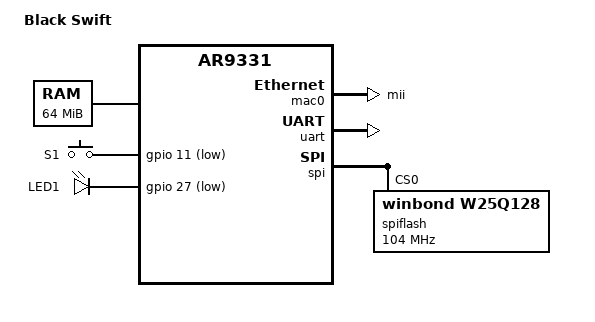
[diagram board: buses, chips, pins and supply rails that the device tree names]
/dts-v1/;

#include <dt-bindings/gpio/gpio.h>
#include <dt-bindings/input/input.h>

#include <mips/qca/ar9331.dtsi>

/ {
	model = "Black Swift";
	compatible = "smartlx,black-swift";

	aliases {
		spiflash = &spiflash;
	};

	memory@0 {
		device_type = "memory";
		reg = <0x00000000 0x4000000>;
	};

	buttons {
		compatible = "gpio-keys";

		s1 {
			label = "S1";
			gpios = <&gpio 11 GPIO_ACTIVE_LOW>;
			linux,code = <KEY_RESTART>;
		};
	};

	leds {
		compatible = "gpio-leds";

		s1 {
			label = "LED1";
			gpios = <&gpio 27 GPIO_ACTIVE_LOW>;
			default-state = "off";
		};
	};

	ahb {
		mac0: mac@19000000 {
			compatible = "qca,ar7100-gmac";
			reg = <0x18070000 0x00000100>,
			      <0x19000000 0x01000000>;
			reg-names = "gmac", "ge0";
			phy-mode = "mii";
			status = "okay";
			/* status = "disabled"; */
		};
	};
};

&ref {
	clock-frequency = <25000000>;
};

&uart {
	status = "okay";
};

&gpio {
	status = "okay";
};

&spi {
	num-chipselects = <1>;
	status = "okay";

	/* Winbond W25Q128FV SPI flash */
	spiflash: w25q128@0 {
		#address-cells = <1>;
		#size-cells = <1>;
		compatible = "winbond,w25q128", "jedec,spi-nor";
		spi-max-frequency = <104000000>;
		reg = <0>;
	};
};
